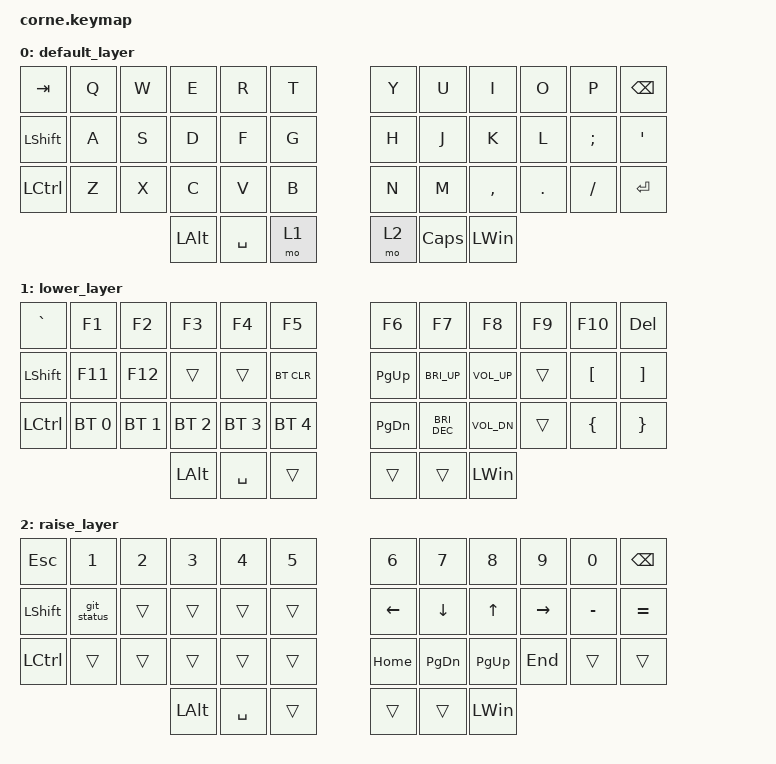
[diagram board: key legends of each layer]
/*
 * Copyright (c) 2020 The ZMK Contributors
 *
 * SPDX-License-Identifier: MIT
 */

#include <behaviors.dtsi>
#include <dt-bindings/zmk/bt.h>
#include <dt-bindings/zmk/keys.h>

/ {
    macros {
        git_status: git_status {
            compatible = "zmk,behavior-macro";
            #binding-cells = <0>;
            bindings =
                <&macro_tap>,
                <&kp G &kp I &kp T &kp SPACE &kp S &kp T &kp A &kp T &kp U &kp S &kp RET>;

            label = "GIT_STATUS";
        };
    };

    keymap {
        compatible = "zmk,keymap";

        default_layer {
            // -----------------------------------------------------------------------------------------
            // |  TAB |  Q  |  W  |  E  |  R  |  T  |   |  Y  |  U   |  I  |  O  |  P  | BKSP |
            // | CTRL |  A  |  S  |  D  |  F  |  G  |   |  H  |  J   |  K  |  L  |  ;  |  '   |
            // | SHFT |  Z  |  X  |  C  |  V  |  B  |   |  N  |  M   |  ,  |  .  |  /  | ESC  |
            //                    | GUI | LWR | SPC |   | ENT | RSE  | ALT |

            bindings = <
&kp TAB         &kp Q  &kp W  &kp E         &kp R      &kp T    &kp Y  &kp U     &kp I         &kp O    &kp P     &kp BSPC
&kp LEFT_SHIFT  &kp A  &kp S  &kp D         &kp F      &kp G    &kp H  &kp J     &kp K         &kp L    &kp SEMI  &kp SQT
&kp LCTRL       &kp Z  &kp X  &kp C         &kp V      &kp B    &kp N  &kp M     &kp COMMA     &kp DOT  &kp FSLH  &kp ENTER
                              &kp LEFT_ALT  &kp SPACE  &mo 1    &mo 2  &kp CAPS  &kp LEFT_WIN
            >;
        };

        lower_layer {
            // -----------------------------------------------------------------------------------------
            // |  TAB |  1  |  2  |  3  |  4  |  5  |   |  6  |  7  |  8  |  9  |  0  | BKSP |
            // | BTCLR| BT1 | BT2 | BT3 | BT4 | BT5 |   | LFT | DWN |  UP | RGT |     |      |
            // | SHFT |     |     |     |     |     |   |     |     |     |     |     |      |
            //                    | GUI |     | SPC |   | ENT |     | ALT |

            bindings = <
&kp GRAVE       &kp F1        &kp F2        &kp F3        &kp F4        &kp F5          &kp F6         &kp F7         &kp F8        &kp F9  &kp F10           &kp DEL
&kp LEFT_SHIFT  &kp F11       &kp F12       &trans        &trans        &bt BT_CLR      &kp PG_UP      &kp C_BRI_UP   &kp C_VOL_UP  &trans  &kp LEFT_BRACKET  &kp RIGHT_BRACKET
&kp LCTRL       &bt BT_SEL 0  &bt BT_SEL 1  &bt BT_SEL 2  &bt BT_SEL 3  &bt BT_SEL 4    &kp PAGE_DOWN  &kp C_BRI_DEC  &kp C_VOL_DN  &trans  &kp LEFT_BRACE    &kp RIGHT_BRACE
                                            &kp LEFT_ALT  &kp SPACE     &trans          &trans         &trans         &kp LEFT_WIN
            >;
        };

        raise_layer {
            // -----------------------------------------------------------------------------------------
            // |  TAB |  !  |  @  |  #  |  $  |  %  |   |  ^  |  &  |  *  |  (  |  )  | BKSP |
            // | CTRL |     |     |     |     |     |   |  -  |  =  |  [  |  ]  |  \  |  `   |
            // | SHFT |     |     |     |     |     |   |  _  |  +  |  {  |  }  | "|" |  ~   |
            //                    | GUI |     | SPC |   | ENT |     | ALT |

            bindings = <
&kp ESCAPE  &kp NUMBER_1  &kp NUMBER_2  &kp NUMBER_3  &kp NUMBER_4  &kp NUMBER_5    &kp NUMBER_6    &kp NUMBER_7    &kp NUMBER_8  &kp NUMBER_9  &kp NUMBER_0  &kp BACKSPACE
&kp LSHIFT  &git_status   &trans        &trans        &trans        &trans          &kp LEFT_ARROW  &kp DOWN_ARROW  &kp UP_ARROW  &kp RIGHT     &kp MINUS     &kp EQUAL
&kp LCTRL   &trans        &trans        &trans        &trans        &trans          &kp HOME        &kp PAGE_DOWN   &kp PAGE_UP   &kp END       &trans        &trans
                                        &kp LEFT_ALT  &kp SPACE     &trans          &trans          &trans          &kp LEFT_WIN
            >;
        };
    };
};
